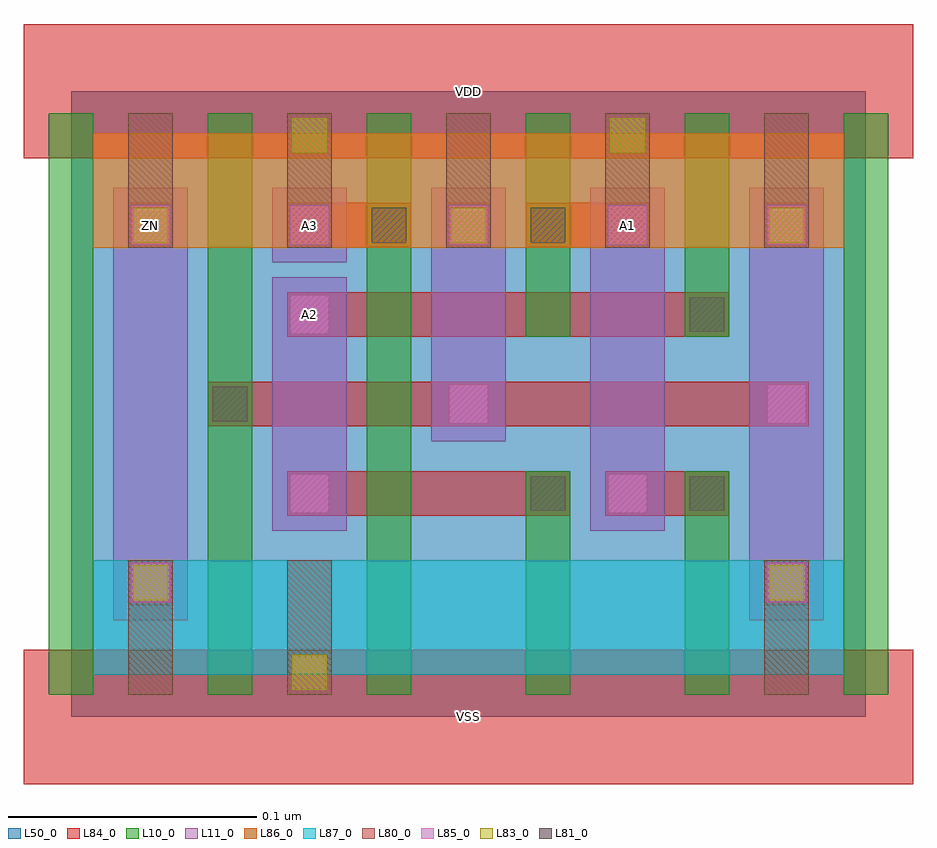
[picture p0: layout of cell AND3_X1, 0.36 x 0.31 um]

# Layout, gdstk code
import gdstk
lib = gdstk.Library(unit=1e-6, precision=1e-09)
def R(c, l, rs):  # rectangles x0, y0, x1, y1
    for r in rs: c.add(gdstk.rectangle(r[:2], r[2:], *l))
def A(c, l, x, y, w, h, nx, ny, dx, dy):  # array of equal rectangles
    R(c, l, [(x+i*dx, y+j*dy, x+i*dx+w, y+j*dy+h) for i in range(nx) for j in range(ny)])
L10_0 = (10, 0)
L11_0 = (11, 0)
L50_0 = (50, 0)
L80_0 = (80, 0)
L81_0 = (81, 0)
L83_0 = (83, 0)
L84_0 = (84, 0)
L85_0 = (85, 0)
L86_0 = (86, 0)
L87_0 = (87, 0)

and3_x1 = lib.new_cell('AND3_X1')
A(and3_x1, L10_0, -0.009, 0.009, 0.018, 0.234, 3, 1, 0.064, 0)
R(and3_x1, L10_0, [(0.183,0.009,0.201,0.099), (0.247,0.009,0.265,0.099), (0.311,0.009,0.329,0.243), (0.183,0.153,0.201,0.243), (0.247,0.153,0.265,0.243)])
R(and3_x1, L11_0, [(0.017,0.039,0.047,0.213), (0.273,0.039,0.303,0.213), (0.081,0.075,0.111,0.177), (0.209,0.075,0.239,0.213), (0.145,0.111,0.175,0.213), (0.081,0.183,0.111,0.213)])
R(and3_x1, L50_0, [(0,0,0.32,0.252)])
A(and3_x1, L80_0, 0.023, 0.189, 0.018, 0.054, 5, 1, 0.064, 0)
R(and3_x1, L80_0, [(0.023,0.009,0.041,0.063), (0.087,0.009,0.105,0.063), (0.279,0.009,0.297,0.063)])
R(and3_x1, L81_0, [(0.185,0.083,0.199,0.097), (0.249,0.083,0.263,0.097), (0.057,0.119,0.071,0.133), (0.249,0.155,0.263,0.169), (0.121,0.191,0.135,0.205), (0.185,0.191,0.199,0.205)])
A(and3_x1, L83_0, 0.025, 0.191, 0.014, 0.014, 3, 1, 0.128, 0)
R(and3_x1, L83_0, [(0.089,0.011,0.103,0.025), (0.025,0.047,0.039,0.061), (0.281,0.047,0.295,0.061), (0.089,0.227,0.103,0.241), (0.217,0.227,0.231,0.241)])
A(and3_x1, L84_0, 0.023, 0.189, 0.018, 0.018, 3, 1, 0.128, 0)
R(and3_x1, L84_0, [(-0.019,-0.027,0.339,0.027), (0.023,0.045,0.041,0.063), (0.279,0.045,0.297,0.063), (0.087,0.081,0.201,0.099), (0.215,0.081,0.265,0.099), (0.055,0.117,0.297,0.135), (0.087,0.153,0.265,0.171), (0.087,0.189,0.137,0.207), (0.183,0.189,0.233,0.207), (-0.019,0.225,0.339,0.279)])
A(and3_x1, L85_0, 0.024, 0.19, 0.016, 0.016, 5, 1, 0.064, 0)
R(and3_x1, L85_0, [(0.024,0.046,0.04,0.062), (0.28,0.046,0.296,0.062), (0.088,0.082,0.104,0.098), (0.216,0.082,0.232,0.098), (0.152,0.118,0.168,0.134), (0.28,0.118,0.296,0.134), (0.088,0.154,0.104,0.17)])
R(and3_x1, L86_0, [(0.009,0.189,0.311,0.235)])
R(and3_x1, L87_0, [(0.009,0.017,0.311,0.063)])
and3_x1.add(gdstk.Label('VDD', (0.16,0.252), layer=88, texttype=0))
and3_x1.add(gdstk.Label('VSS', (0.16,0), layer=88, texttype=0))
and3_x1.add(gdstk.Label('A1', (0.224,0.198), layer=31, texttype=0))
and3_x1.add(gdstk.Label('A2', (0.096,0.162), layer=31, texttype=0))
and3_x1.add(gdstk.Label('ZN', (0.032,0.198), layer=31, texttype=0))
and3_x1.add(gdstk.Label('A3', (0.096,0.198), layer=31, texttype=0))

lib.write_gds('AND3_X1.gds')
